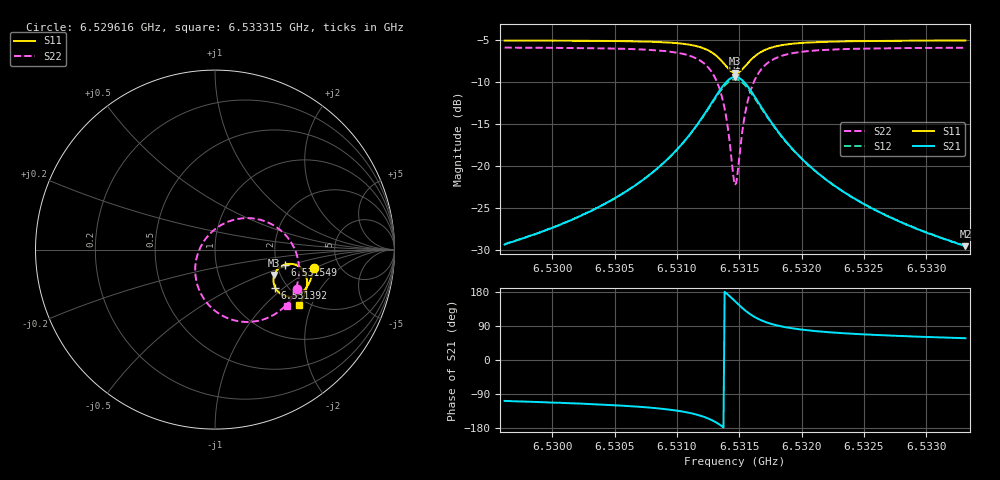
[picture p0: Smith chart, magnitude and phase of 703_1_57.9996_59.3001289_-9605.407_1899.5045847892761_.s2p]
#  HZ  S  RI  R  50.00
! Rohde & Schwarz Vector Network Analyzer
! Rohde-Schwarz,ZNB20-2Port,1311601062101988,3.16
! Created: UTC 3/21/2024, 1:21:51 AM
! freq[Hz]  re:S11  im:S11  re:S21  im:S21  re:S12  im:S12  re:S22  im:S22
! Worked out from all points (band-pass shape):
!   401 points, 6.529616 GHz to 6.533315 GHz, reference 50 ohm
!   highest |S21| = -9.36 dB at 6.531466 GHz (marker M1); lowest = -29.5 dB at 6.533315 GHz (marker M2)
!   |S21| within 3 dB of the highest: 6.531282 GHz to 6.531652 GHz (370.1 kHz wide, 0.00567 % of centre)
!   lowest |S11| = -8.9 dB at 6.531466 GHz (marker M3), VSWR 2.12, Z = 93.1 - j30.1 ohm
!   |S11| at or under -10 dB: nowhere
!   |S22| runs from -22.2 to -5.9 dB; largest |S21 - S12| = 0.014
!   S11 on the Smith chart (normalised r, x): 6.529616 GHz: 3.24, -0.96; 6.531392 GHz: 1.73, -0.87; 6.531549 GHz: 2.20, -0.44; 6.533315 GHz: 1.82, -1.64
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6.5296163e9  0.551 -0.1011  -0.0106 -0.0326  -0.0115 -0.0326  0.4587 -0.2205
6.5302359e9  0.5375 -0.1536  -0.0219 -0.0462  -0.0231 -0.0459  0.4222 -0.279
6.5305595e9  0.525 -0.1845  -0.0349 -0.0591  -0.0364 -0.0582  0.3878 -0.3176
6.5308554e9  0.5046 -0.2177  -0.061 -0.0782  -0.0632 -0.0764  0.3289 -0.3626
6.5310681e9  0.4744 -0.2461  -0.106 -0.0973  -0.1089 -0.0933  0.2387 -0.3974
6.5312345e9  0.4216 -0.2629  -0.1879 -0.099  -0.1897 -0.0906  0.0901 -0.3891
6.531327e9  0.3714 -0.2501  -0.2652 -0.0602  -0.2623 -0.0487  -0.0354 -0.3081
6.531364e9  0.3496 -0.2324  -0.2969 -0.0235  -0.2906 -0.012  -0.0811 -0.2405
6.5313917e9  0.3358 -0.2127  -0.3153 0.0144  -0.3063 0.0249  -0.1041 -0.1738
6.5314472e9  0.3262 -0.1595  -0.3203 0.1103  -0.3072 0.1152  -0.0933 -0.0159
6.5314657e9  0.3306 -0.1406  -0.3091 0.143  -0.2958 0.1455  -0.0691 0.0353
6.5314842e9  0.339 -0.1231  -0.2918 0.1729  -0.279 0.1733  -0.0352 0.0808
6.5315212e9  0.3644 -0.0959  -0.2434 0.2185  -0.2329 0.2153  0.0519 0.1462
6.5315489e9  0.3874 -0.084  -0.2017 0.2374  -0.1936 0.233  0.1237 0.1703
6.5315767e9  0.4104 -0.0794  -0.1613 0.2447  -0.1552 0.24  0.192 0.1754
6.5316136e9  0.4374 -0.0814  -0.1144 0.2415  -0.1105 0.237  0.2699 0.1609
6.5317061e9  0.4816 -0.1052  -0.0391 0.2048  -0.0375 0.2025  0.3911 0.0832
6.5318448e9  0.5069 -0.1448  0.00472 0.1498  0.00599 0.1487  0.455 -0.0266
6.5320852e9  0.5127 -0.1922  0.0218 0.095  0.023 0.0946  0.468 -0.1381
6.5323811e9  0.5057 -0.2299  0.0233 0.0632  0.0243 0.0627  0.4539 -0.2095
6.5327048e9  0.4944 -0.261  0.0214 0.0451  0.0222 0.0449  0.4347 -0.2569
6.5333151e9  0.4696 -0.3081  0.018 0.0283  0.0187 0.0279  0.3991 -0.3145
